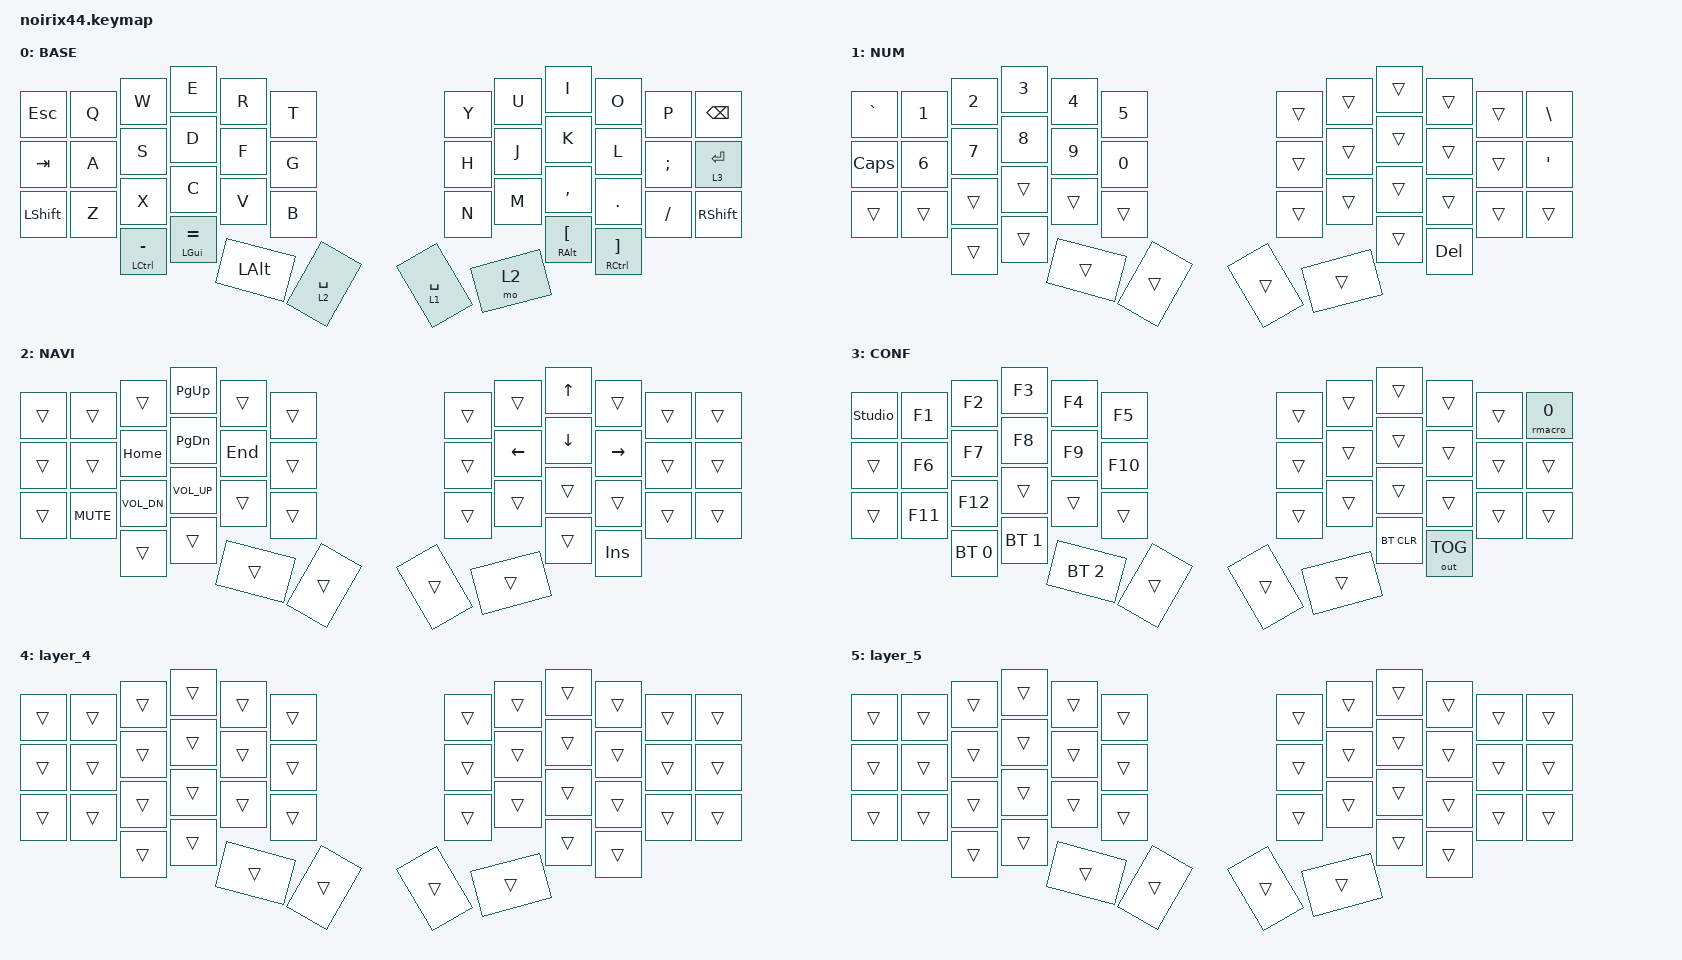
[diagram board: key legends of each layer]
/*
 * Copyright (c) 2020 The ZMK Contributors
 *
 * SPDX-License-Identifier: MIT
 */

#include <behaviors/runtime_macro.dtsi>
#include <behaviors.dtsi>
#include <dt-bindings/zmk/bt.h>
#include <dt-bindings/zmk/keys.h>
#include <dt-bindings/zmk/outputs.h>

/ {
    keymap {
        compatible = "zmk,keymap";

        layer_0 {
            display-name = "BASE";
            bindings = <
&kp ESC     &kp Q  &kp W            &kp E           &kp R     &kp T        &kp Y        &kp U  &kp I          &kp O           &kp P     &kp BACKSPACE
&kp TAB     &kp A  &kp S            &kp D           &kp F     &kp G        &kp H        &kp J  &kp K          &kp L           &kp SEMI  &lt 3 ENTER
&kp LSHIFT  &kp Z  &kp X            &kp C           &kp V     &kp B        &kp N        &kp M  &kp COMMA      &kp DOT         &kp FSLH  &kp RSHIFT
                   &mt LCTRL MINUS  &mt LGUI EQUAL  &kp LALT  &lt 2 SPACE  &lt 1 SPACE  &mo 2  &mt RALT LBKT  &mt RCTRL RBKT
            >;
        };

        layer_1 {
            display-name = "NUM";
            bindings = <
&kp GRAVE  &kp N1  &kp N2  &kp N3  &kp N4  &kp N5  &trans  &trans  &trans  &trans   &trans  &kp BSLH
&kp CAPS   &kp N6  &kp N7  &kp N8  &kp N9  &kp N0  &trans  &trans  &trans  &trans   &trans  &kp SQT
&trans     &trans  &trans  &trans  &trans  &trans  &trans  &trans  &trans  &trans   &trans  &trans
                   &trans  &trans  &trans  &trans  &trans  &trans  &trans  &kp DEL
            >;
        };

        layer_2 {
            display-name = "NAVI";
            bindings = <
&trans  &trans      &trans        &kp PG_UP     &trans   &trans  &trans  &trans    &kp UP    &trans     &trans  &trans
&trans  &trans      &kp HOME      &kp PG_DN     &kp END  &trans  &trans  &kp LEFT  &kp DOWN  &kp RIGHT  &trans  &trans
&trans  &kp C_MUTE  &kp C_VOL_DN  &kp C_VOL_UP  &trans   &trans  &trans  &trans    &trans    &trans     &trans  &trans
                    &trans        &trans        &trans   &trans  &trans  &trans    &trans    &kp INS
            >;
        };

        layer_3 {
            display-name = "CONF";
            bindings = <
&studio_unlock  &kp F1   &kp F2        &kp F3        &kp F4        &kp F5   &trans  &trans  &trans      &trans        &trans  &rmacro 0
&trans          &kp F6   &kp F7        &kp F8        &kp F9        &kp F10  &trans  &trans  &trans      &trans        &trans  &trans
&trans          &kp F11  &kp F12       &trans        &trans        &trans   &trans  &trans  &trans      &trans        &trans  &trans
                         &bt BT_SEL 0  &bt BT_SEL 1  &bt BT_SEL 2  &trans   &trans  &trans  &bt BT_CLR  &out OUT_TOG
            >;
        };

        layer_4 {
            bindings = <
&trans  &trans  &trans  &trans  &trans  &trans  &trans  &trans  &trans  &trans  &trans  &trans
&trans  &trans  &trans  &trans  &trans  &trans  &trans  &trans  &trans  &trans  &trans  &trans
&trans  &trans  &trans  &trans  &trans  &trans  &trans  &trans  &trans  &trans  &trans  &trans
                &trans  &trans  &trans  &trans  &trans  &trans  &trans  &trans
            >;
        };

        layer_5 {
            bindings = <
&trans  &trans  &trans  &trans  &trans  &trans  &trans  &trans  &trans  &trans  &trans  &trans
&trans  &trans  &trans  &trans  &trans  &trans  &trans  &trans  &trans  &trans  &trans  &trans
&trans  &trans  &trans  &trans  &trans  &trans  &trans  &trans  &trans  &trans  &trans  &trans
                &trans  &trans  &trans  &trans  &trans  &trans  &trans  &trans
            >;
        };
    };
};
